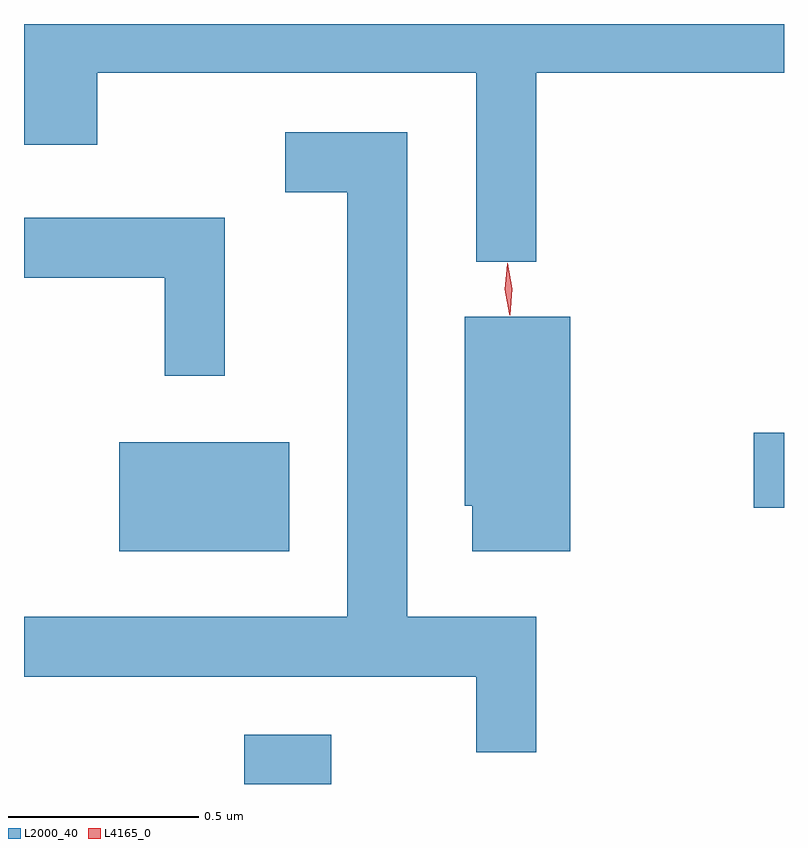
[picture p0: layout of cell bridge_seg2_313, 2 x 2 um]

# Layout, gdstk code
import gdstk
lib = gdstk.Library(unit=1e-6, precision=1e-09)
def R(c, l, rs):  # rectangles x0, y0, x1, y1
    for r in rs: c.add(gdstk.rectangle(r[:2], r[2:], *l))
def P(c, l, *ps):  # polygons
    for p in ps: c.add(gdstk.Polygon(p, *l))
L2000_40 = (2000, 40)
L4165_0 = (4165, 0)

bridge_seg2_313 = lib.new_cell('bridge_seg2_313')
R(bridge_seg2_313, L2000_40, [(429.636,1095.284,429.864,1095.414), (429.306,1095.896,429.754,1096.184), (430.976,1096.011,431.056,1096.209)])
P(bridge_seg2_313, L2000_40, [(430.404,1097.156),(431.056,1097.156),(431.056,1097.284),(429.056,1097.284),(429.056,1096.966),(429.249,1096.966),(429.249,1097.156),(430.246,1097.156),(430.246,1096.658),(430.404,1096.658)],
  [(430.404,1095.724),(430.064,1095.724),(430.064,1096.999),(429.743,1096.999),(429.743,1096.841),(429.906,1096.841),(429.906,1095.724),(429.056,1095.724),(429.056,1095.566),(430.246,1095.566),(430.246,1095.368),(430.404,1095.368)],
  [(429.584,1096.774),(429.056,1096.774),(429.056,1096.616),(429.426,1096.616),(429.426,1096.358),(429.584,1096.358)],
  [(430.494,1096.514),(430.216,1096.514),(430.216,1096.016),(430.236,1096.016),(430.236,1095.896),(430.494,1095.896)])
P(bridge_seg2_313, L4165_0, [(430.334,1096.518),(430.322,1096.586),(430.328,1096.655),(430.328,1096.655),(430.329,1096.655),(430.341,1096.587),(430.336,1096.518),(430.335,1096.518)],
  [(430.333,1096.52),(430.333,1096.521),(430.321,1096.586),(430.328,1096.651),(430.328,1096.652),(430.329,1096.651),(430.341,1096.587),(430.334,1096.521)])

lib.write_gds('bridge_seg2_313.gds')
